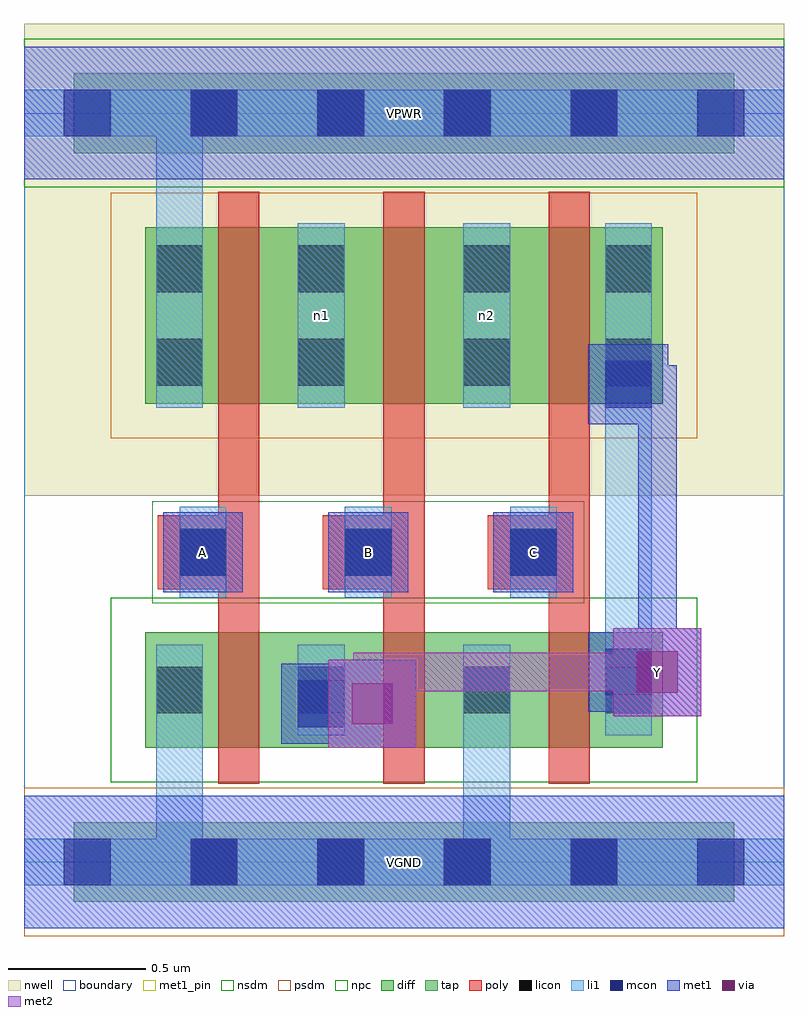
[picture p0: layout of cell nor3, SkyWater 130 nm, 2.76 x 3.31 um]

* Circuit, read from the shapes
.subckt nor3 A B C VGND VPWR Y n1 n2
XM1 Y A VGND VGND sky130_fd_pr__nfet_01v8 w=0.42 l=0.15
XM2 VGND B Y VGND sky130_fd_pr__nfet_01v8 w=0.42 l=0.15
XM3 Y C VGND VGND sky130_fd_pr__nfet_01v8 w=0.42 l=0.15
XM4 n1 A VPWR VPWR sky130_fd_pr__pfet_01v8 w=0.64 l=0.15
XM5 n2 B n1 VPWR sky130_fd_pr__pfet_01v8 w=0.64 l=0.15
XM6 Y C n2 VPWR sky130_fd_pr__pfet_01v8 w=0.64 l=0.15
.ends

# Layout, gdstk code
import gdstk
lib = gdstk.Library(unit=1e-6, precision=1e-09)
def R(c, l, rs):  # rectangles x0, y0, x1, y1
    for r in rs: c.add(gdstk.rectangle(r[:2], r[2:], *l))
def A(c, l, x, y, w, h, nx, ny, dx, dy):  # array of equal rectangles
    R(c, l, [(x+i*dx, y+j*dy, x+i*dx+w, y+j*dy+h) for i in range(nx) for j in range(ny)])
nwell = (64, 20)
diff = (65, 20)
tap = (65, 44)
poly = (66, 20)
licon = (66, 44)
li1 = (67, 20)
mcon = (67, 44)
met1_pin = (68, 16)
met1 = (68, 20)
via = (68, 44)
met2 = (69, 20)
nsdm = (93, 44)
psdm = (94, 20)
npc = (95, 20)
boundary = (235, 4)

nor3 = lib.new_cell('nor3')
R(nor3, nwell, [(0,1.33,2.76,3.045)])
R(nor3, diff, [(0.44,0.415,2.32,0.835), (0.44,1.665,2.32,2.305)])
R(nor3, tap, [(0.18,-0.145,2.58,0.145), (0.18,2.575,2.58,2.865)])
A(nor3, poly, 0.705, 0.285, 0.15, 2.15, 3, 1, 0.6, 0)
A(nor3, poly, 0.485, 0.99, 0.33, 0.27, 3, 1, 0.6, 0)
A(nor3, licon, 0.605, -0.085, 0.17, 0.17, 4, 2, 0.46, 2.72)
A(nor3, licon, 0.565, 1.04, 0.17, 0.17, 3, 1, 0.6, 0)
R(nor3, licon, [(0.48,0.54,0.65,0.71), (0.995,0.54,1.165,0.71), (1.595,0.54,1.765,0.71), (2.11,0.54,2.28,0.71), (0.48,1.73,0.65,1.9), (0.995,1.73,1.165,1.9), (1.595,1.73,1.765,1.9), (2.11,1.73,2.28,1.9), (0.48,2.07,0.65,2.24), (0.995,2.07,1.165,2.24), (1.595,2.07,1.765,2.24), (2.11,2.07,2.28,2.24)])
A(nor3, li1, 0.565, 0.96, 0.17, 0.33, 3, 1, 0.6, 0)
R(nor3, li1, [(0,-0.085,2.76,0.085), (0.48,-0.085,0.65,0.79), (1.595,-0.085,1.765,0.79), (0.48,0.46,0.65,0.79), (0.995,0.46,1.165,0.79), (1.595,0.46,1.765,0.79), (2.11,0.46,2.28,0.79), (2.11,0.46,2.28,2.32), (0.48,1.65,0.65,2.32), (0.48,1.65,0.65,2.805), (0.995,1.65,1.165,2.32), (1.595,1.65,1.765,2.32), (2.11,1.65,2.28,2.32), (0,2.635,2.76,2.805)])
A(nor3, mcon, 0.145, -0.085, 0.17, 0.17, 6, 2, 0.46, 2.72)
A(nor3, mcon, 0.565, 1.04, 0.17, 0.17, 3, 1, 0.6, 0)
R(nor3, mcon, [(0.995,0.49,1.165,0.66), (2.11,0.605,2.28,0.775), (2.11,1.65,2.28,1.82)])
A(nor3, met1_pin, 0.505, 0.98, 0.29, 0.29, 3, 1, 0.6, 0)
R(nor3, met1_pin, [(0,-0.24,2.76,0.24), (2.14,0.53,2.46,0.85), (0,2.48,2.76,2.96)])
A(nor3, met1, 0.505, 0.98, 0.29, 0.29, 3, 1, 0.6, 0)
R(nor3, met1, [(0,-0.24,2.76,0.24), (1.105,0.415,1.425,0.735), (0.935,0.43,1.225,0.72), (1.01,0.505,1.335,0.645), (2.14,0.53,2.46,0.85), (2.05,0.545,2.34,0.835), (2.125,0.62,2.37,0.76), (2.23,0.62,2.37,1.68), (2.23,1.54,2.37,1.805), (2.05,1.59,2.34,1.88), (2.125,1.665,2.37,1.805), (0,2.48,2.76,2.96)])
R(nor3, via, [(1.19,0.5,1.34,0.65), (2.225,0.615,2.375,0.765)])
R(nor3, met2, [(1.105,0.415,1.425,0.735), (1.195,0.505,1.335,0.76), (2.14,0.53,2.46,0.85), (1.195,0.62,2.37,0.76)])
R(nor3, nsdm, [(0.315,0.29,2.445,0.96), (0,2.45,2.76,2.99)])
R(nor3, psdm, [(0,-0.27,2.76,0.27), (0.315,1.54,2.445,2.43)])
R(nor3, npc, [(0.465,0.94,2.035,1.31)])
R(nor3, boundary, [(0,0,2.76,2.72)])
nor3.add(gdstk.Label('n1', (1.08,1.985), layer=67, texttype=5))
nor3.add(gdstk.Label('n2', (1.68,1.985), layer=67, texttype=5))
nor3.add(gdstk.Label('A', (0.65,1.125), layer=68, texttype=5))
nor3.add(gdstk.Label('B', (1.25,1.125), layer=68, texttype=5))
nor3.add(gdstk.Label('C', (1.85,1.125), layer=68, texttype=5))
nor3.add(gdstk.Label('Y', (2.3,0.69), layer=68, texttype=5))
nor3.add(gdstk.Label('VPWR', (1.38,2.72), layer=68, texttype=5))
nor3.add(gdstk.Label('VGND', (1.38,0), layer=68, texttype=5))
nor3.add(gdstk.Label('A', (0.65,1.125), layer=68, texttype=16))
nor3.add(gdstk.Label('B', (1.25,1.125), layer=68, texttype=16))
nor3.add(gdstk.Label('C', (1.85,1.125), layer=68, texttype=16))
nor3.add(gdstk.Label('Y', (2.3,0.69), layer=68, texttype=16))
nor3.add(gdstk.Label('VPWR', (1.38,2.72), layer=68, texttype=16))
nor3.add(gdstk.Label('VGND', (1.38,0), layer=68, texttype=16))

lib.write_gds('nor3.gds')
